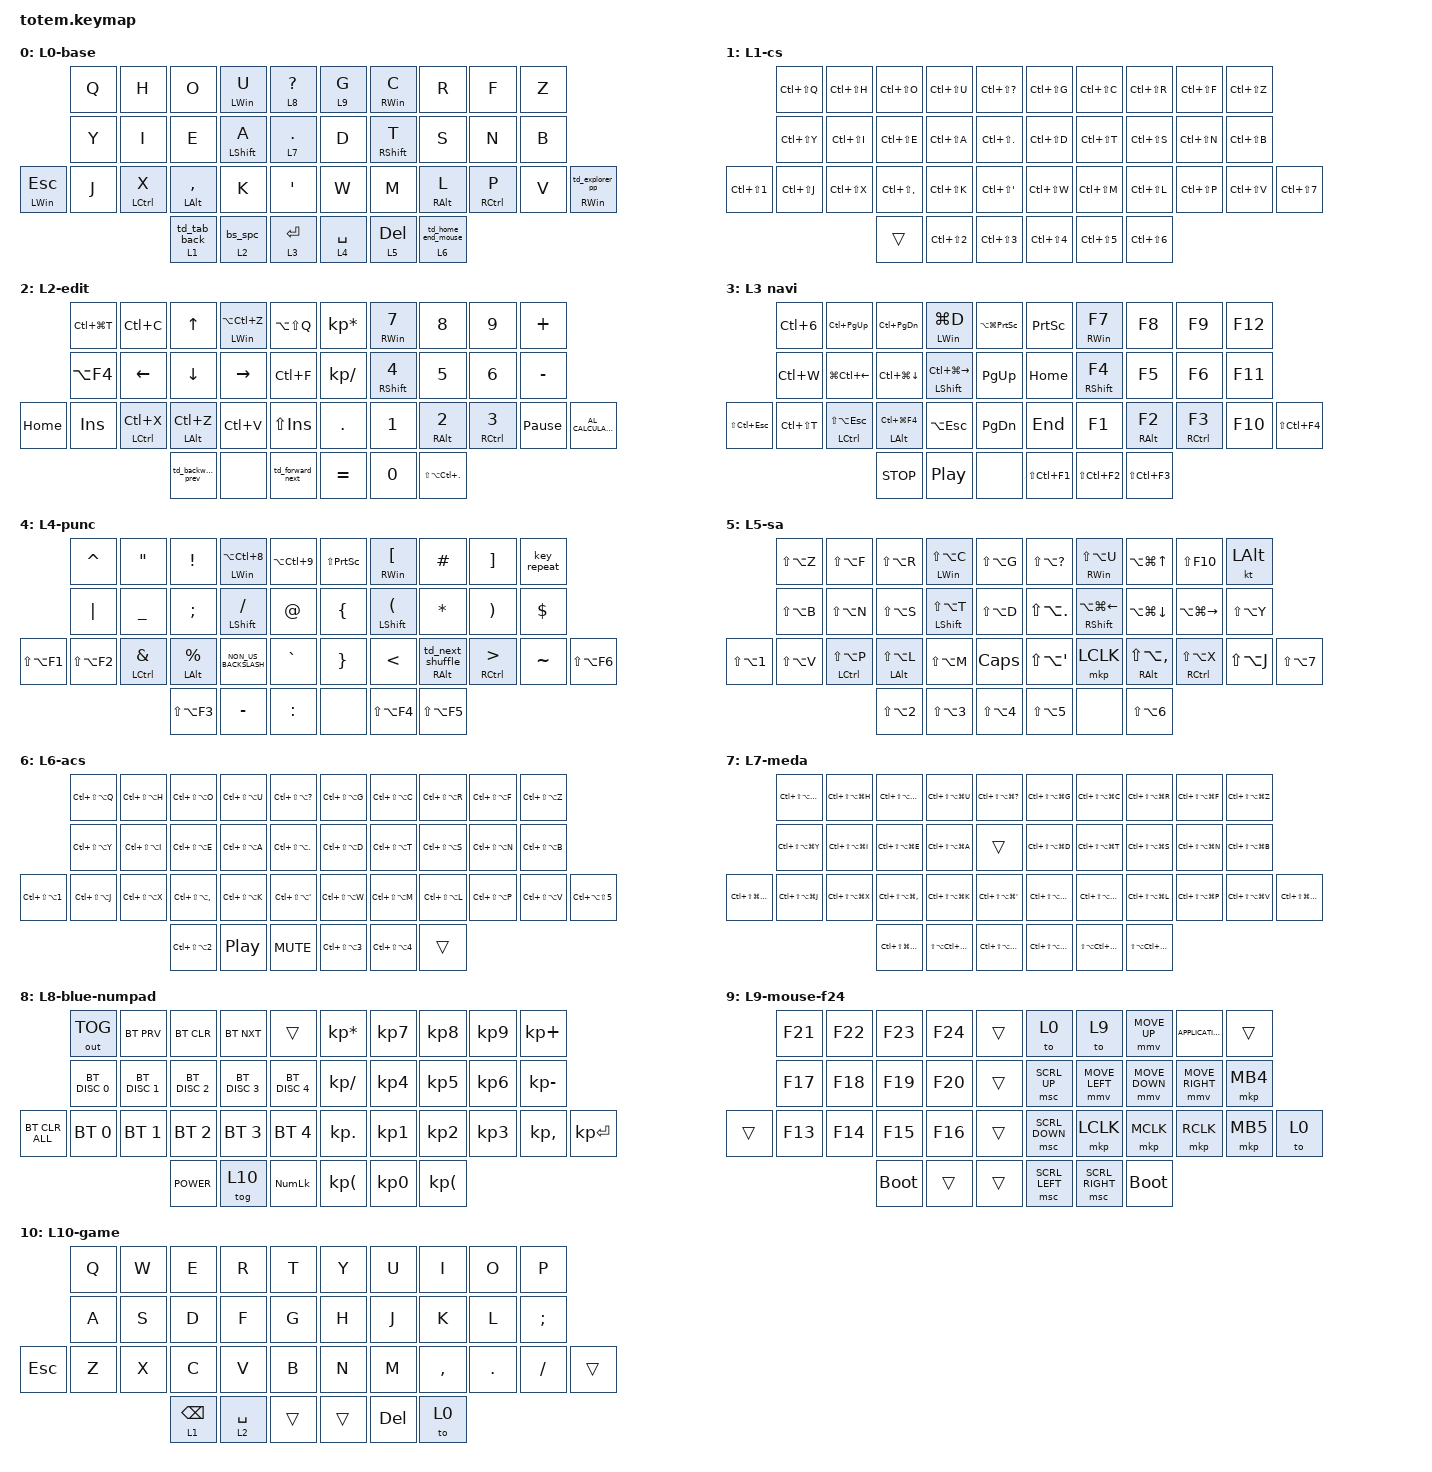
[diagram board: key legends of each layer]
//
//                                                        ▀▀▀▀▀     ▀▀▀▀▀          ▀▀█▀▀
//                                                        ▄▀▀▀▄  ▄  ▄▀▀▀▄  ▄  ▄▀▀▀▄  █  ▄▀▀▀▄
//                                                        █   █  █  █   █  █  █   █  █  █   █
//                                                         ▀▀▀   █   ▀▀▀   █   ▀▀▀   ▀   ▀▀▀
//                                                               █      ▄▄▄█▄▄▄    █   █  
//                                                               ▀      █  █  █     █▄█
//                                                             ▀▀▀▀▀    █  █  █      ▀
//                                                                      ▀  ▀  ▀
//
// ▄▄▄▄▄▄▄▄▄▄▄▄▄▄▄▄▄▄▄▄▄▄▄▄▄▄▄▄▄▄▄▄▄▄▄▄▄▄▄▄▄▄▄▄▄▄▄▄▄▄▄▄▄▄▄▄▄▄▄▄▄▄▄▄▄▄▄▄▄▄▄▄▄▄▄▄▄▄▄▄▄▄▄▄▄▄▄▄▄▄▄▄▄▄▄▄▄▄▄▄▄▄▄▄▄▄▄▄▄▄▄▄▄▄▄▄▄▄▄▄▄▄▄▄▄▄▄▄▄▄▄▄▄▄▄▄▄▄▄▄▄▄▄▄▄▄▄▄▄

#include <behaviors.dtsi>
#include <dt-bindings/zmk/bt.h>
#include <dt-bindings/zmk/keys.h>
#include <dt-bindings/zmk/outputs.h>
#include <dt-bindings/zmk/pointing.h>

&lt {
    flavor = "tap-preferred";
    quick-tap-ms = <200>;
};

&sk { release-after-ms = <600000>; };

&mt {
    tapping-term-ms = <170>;
    quick-tap-ms = <100>;
    flavor = "tap-preferred";
};

/ {
    behaviors {
        hm: homerow_mods {
            compatible = "zmk,behavior-hold-tap";
            #binding-cells = <2>;
            tapping-term-ms = <200>;
            quick-tap-ms = <200>;
            flavor = "tap-preferred";
            bindings = <&kp>, <&kp>;
        };

        /* TAP-DANCE: 1 tap = Tab, 2 taps = Caps Lock */
        /* MOD-MORPH: Backspace that becomes Delete when Shift is held */
        /* This solves your Shift+Tab worry—you can keep Shift+Tab functional! */

        bs_del: backspace_delete {
            compatible = "zmk,behavior-mod-morph";
            #binding-cells = <0>;
            bindings = <&kp BSPC>, <&kp DEL>;

            mods = <(MOD_LSFT|MOD_RSFT)>;
        };

        /* HOLD-TAP (Layer/Repeat): Tap = BSPC, Hold = Layer 2 */
        /* This includes 'quick-tap-ms' to allow the repeat-on-hold you like! */

        lt_repeat: layer_tap_repeat {
            compatible = "zmk,behavior-hold-tap";
            #binding-cells = <2>;
            flavor = "hold-preferred";
            tapping-term-ms = <200>;
            quick-tap-ms = <150>; // This enables the "double-tap-and-hold to repeat"
            bindings = <&mo>, <&kp>;
        };

        /* MOD-MORPH: Dot on tap, Colon on Shift+Dot */

        shift_backspace: shift_backspace-space {
            compatible = "zmk,behavior-mod-morph";
            #binding-cells = <0>;
            bindings = <&kp BACKSPACE>, <&kp SPACE>;

            mods = <(MOD_LSFT|MOD_RSFT)>;
        };

        td_forward_next: td_forward_next {
            compatible = "zmk,behavior-tap-dance";
            #binding-cells = <0>;
            tapping-term-ms = <300>;
            bindings = <&kp LS(LA(LC(F8)))>, <&kp C_NEXT>;

            label = "TD_FORWARD_NEXT";
        };

        td_backward_prev: td_backward_prev {
            compatible = "zmk,behavior-tap-dance";
            #binding-cells = <0>;
            tapping-term-ms = <300>;
            bindings = <&kp LS(LA(LC(F7)))>, <&kp C_PREVIOUS>;

            label = "TD_BACKWARD_PREV";

            /* 1. The Tap-Dance (The Actions) */

            td_explorer_pp: td_explorer_pp {
                compatible = "zmk,behavior-tap-dance";
                #binding-cells = <0>;
                tapping-term-ms = <300>;
                bindings = <&kp LG(E)>, <&kp C_PLAY_PAUSE>;
            };

            /* 2. The Hold-Tap (The Logic) */

            rwin_explorer_pp: rwin_explorer_pp {
                compatible = "zmk,behavior-hold-tap";
                #binding-cells = <2>;
                flavor = "tap-preferred";
                tapping-term-ms = <200>;
                bindings = <&kp>, <&td_explorer_pp>;
            };

            /* 1. The Mod-Morph (Normal = Backspace, Shift = Space) */

            bs_spc: backspace_space {
                compatible = "zmk,behavior-mod-morph";
                #binding-cells = <0>;
                bindings = <&kp BSPC>, <&kp SPACE>;

                mods = <(MOD_LSFT|MOD_RSFT)>;
            };

            /* 2. The Layer-Tap Wrapper (Hold = Layer, Tap = The Mod-Morph) */

            lt_bs_spc: layer_tap_bs_spc {
                compatible = "zmk,behavior-hold-tap";
                #binding-cells = <2>;
                flavor = "tap-preferred";
                tapping-term-ms = <200>;
                bindings = <&mo>, <&bs_spc>;

                /* Hold switches layer, Tap triggers the Morph */

                quick-tap-ms = <200>;
            };

            /* 1. The Tap-Dance (Tuned for fast double-taps) */

            td_tab_back: td_tab_back {
                compatible = "zmk,behavior-tap-dance";
                #binding-cells = <0>;
                tapping-term-ms = <200>; // Fast window for the double-tap
                bindings = <&kp TAB>, <&kp C_AC_BACK>;
            };

            /* 2. The Hold-Tap (Tuned for slow navigation) */

            lalt_tab_back: lalt_tab_back {
                compatible = "zmk,behavior-hold-tap";
                #binding-cells = <2>;
                flavor = "tap-preferred"; // Prioritizes the Tab/Dance over the Layer
                tapping-term-ms = <250>;   // Must hold for 250ms to trigger Layer 1
                quick-tap-ms = <200>;      // Allows slow-but-repeated Tabbing
                bindings = <&mo>, <&td_tab_back>;
            };

            ralt_del_home_forward_mouse: ralt_del_home_forward_mouse {
                compatible = "zmk,behavior-hold-tap";
                #binding-cells = <2>;
                flavor = "tap-preferred";
                tapping-term-ms = <250>;
                quick-tap-ms = <200>;
                bindings = <&mo>, <&td_home_end_mouse>;

                label = "RALT_DEL_HOME_FORWARD_MOUSE";
            };

            td_home_end_mouse: td_home_end_mouse {
                compatible = "zmk,behavior-tap-dance";
                #binding-cells = <0>;
                tapping-term-ms = <200>;
                bindings = <&kp HOME>, <&kp C_AC_FORWARD>;

                label = "TD_HOME_END_MOUSE";
            };

            td_next_shuffle: td_next_shuffle {
                compatible = "zmk,behavior-tap-dance";
                #binding-cells = <0>;
                tapping-term-ms = <200>;
                bindings = <&kp C_NEXT>, <&kp C_RANDOM_PLAY>;

                label = "TD_NEXT_SHUFFLE";
            };

            holdAlt_tapdanceMediaNextShuffl: holdAlt_tapdanceMediaNextShuffl {
                compatible = "zmk,behavior-hold-tap";
                #binding-cells = <2>;
                flavor = "tap-preferred";
                tapping-term-ms = <250>;
                quick-tap-ms = <200>;
                bindings = <&kp>, <&td_next_shuffle>;

                label = "HOLDALT_TAPDANCEMEDIANEXTSHUFFL";
            };
        };
    };

    macros {
        gif: gif {
            label = "giphy";
            compatible = "zmk,behavior-macro";
            #binding-cells = <0>;
            bindings =
                <&macro_press>,
                <&kp LSHFT>,
                <&macro_tap>,
                <&kp N2>,
                <&macro_release>,
                <&kp LSHFT>,
                <&macro_tap>,
                <&kp G &kp I &kp F>;
        };

        email: my_period_macro {
            compatible = "zmk,behavior-macro";
            label = "MY_PERIOD_MACRO";
            #binding-cells = <0>;
            bindings = <&kp V &kp N &kp Z &kp AT &kp L &kp I &kp V &kp E &kp DOT &kp C &kp O &kp M>;
        };
    };

    combos {
        compatible = "zmk,combos";

        tab {
            timeout-ms = <50>;
            key-positions = <1 2>; // This assumes position 2 and 3 on your keyboard. Adjust as needed.
            bindings = <&kp TAB>;
            layers = <0>; // This combo will only work on layer 0.
        };

        del {
            timeout-ms = <100>;
            key-positions = <23 24>;
            bindings = <&kp DEL>;
        };

        mpc_seek_bk {
            timeout-ms = <40>;
            key-positions = <22 23>;
            bindings = <&kp C_REWIND>;
        };

        mpc_seek_ff {
            timeout-ms = <100>;
            bindings = <&kp C_FAST_FORWARD>;
            key-positions = <7 8>;
        };

        home {
            timeout-ms = <120>;
            bindings = <&kp HOME>;
            key-positions = <21 11>;
        };

        pageup2 {
            timeout-ms = <120>;
            bindings = <&kp PAGE_UP>;
            key-positions = <12 22>;
        };

        end {
            timeout-ms = <120>;
            bindings = <&kp END>;
            key-positions = <18 30>;
        };

        pagedn2 {
            timeout-ms = <120>;
            bindings = <&kp PAGE_DOWN>;
            key-positions = <17 29>;
        };

        vul-up {
            bindings = <&kp C_VOLUME_UP>;
            key-positions = <5 15>;
            timeout-ms = <100>;
        };

        vul-dn {
            bindings = <&kp C_VOLUME_DOWN>;
            key-positions = <26 15>;
            timeout-ms = <100>;
        };

        end2 {
            bindings = <&kp END>;
            key-positions = <14 25>;
            timeout-ms = <100>;
        };

        space3 {
            bindings = <&kp SPACE>;
            key-positions = <13 24>;
            timeout-ms = <100>;
        };

        pageup {
            bindings = <&kp PAGE_UP>;
            key-positions = <8 18>;
            timeout-ms = <100>;
        };

        pagedn {
            bindings = <&kp PAGE_DOWN>;
            key-positions = <18 29>;
            timeout-ms = <100>;
        };

        shift-input {
            bindings = <&kp LEFT_SHIFT>;
            key-positions = <27 28>;
        };

        todo7 {
            bindings = <&email>;
            key-positions = <21 22>;
        };
    };

    keymap {
        compatible = "zmk,keymap";

        // ▄▄▄▄▄▄▄▄▄▄▄▄▄▄▄▄▄▄▄▄▄▄▄▄▄▄▄▄▄▄▄▄▄▄▄▄▄▄▄▄▄▄▄▄▄▄▄▄▄▄▄▄▄▄▄▄▄▄▄▄▄▄▄▄▄▄▄▄▄▄▄▄▄▄▄▄▄▄▄▄▄▄▄▄▄▄▄▄▄▄▄▄▄▄▄▄▄▄▄▄▄▄▄▄▄▄▄▄▄▄▄▄▄▄▄▄▄▄▄▄▄▄▄▄▄▄▄▄▄▄▄▄▄▄▄▄▄▄▄▄▄▄▄▄▄▄▄▄▄

        L0-base {
            // ┏━━━━━━━━━━━━━━━━━━━━━━━━━━━━━━━━━━━━━━━┓

            label = "L0-base";

            // ┗━━━━━━━━━━━━━━━━━━━━━━━━━━━━━━━━━━━━━━━┛
            //             ┏━━━━━━━━━━━┳━━━━━━━━━━━┳━━━━━━━━━━━┳━━━━━━━━━━━┳━━━━━━━━━━━┓   ┏━━━━━━━━━━━┳━━━━━━━━━━━┳━━━━━━━━━━━┳━━━━━━━━━━━┳━━━━━━━━━━━┓
            //             ┃     Q     ┃     H     ┃     O     ┃     U     ┃     ?     ┃   ┃     J     ┃     L     ┃     U     ┃     Y     ┃     ;     ┃
            //             ┣━━━━━━━━━━━╋━━━━━━━━━━━╋━━━━━━━━━━━╋━━━━━━━━━━━╋━━━━━━━━━━━┫   ┣━━━━━━━━━━━╋━━━━━━━━━━━╋━━━━━━━━━━━╋━━━━━━━━━━━╋━━━━━━━━━━━┫
            //             ┃     Y     ┃     I     ┃     E     ┃     A     ┃     .     ┃   ┃     H     ┃     N     ┃     E     ┃     I     ┃     O     ┃
            // ┏━━━━━━━━━━━╋━━━━━━━━━━━╋━━━━━━━━━━━╋━━━━━━━━━━━╋━━━━━━━━━━━╋━━━━━━━━━━━┫   ┣━━━━━━━━━━━╋━━━━━━━━━━━╋━━━━━━━━━━━╋━━━━━━━━━━━╋━━━━━━━━━━━╋━━━━━━━━━━━┓
            // ┃     WIN   ┃     J     ┃     X     ┃     ,     ┃     K     ┃     '     ┃   ┃     K     ┃     M     ┃     ,     ┃     .     ┃     /     ┃     \     ┃
            // ┗━━━━━━━━━━━┻━━━━━━━━━━━┻━━━━━━━━━━━╋━━━━━━━━━━━╋━━━━━━━━━━━╋━━━━━━━━━━━┫   ┣━━━━━━━━━━━╋━━━━━━━━━━━╋━━━━━━━━━━━╋━━━━━━━━━━━┻━━━━━━━━━━━┻━━━━━━━━━━━┛
            //                                     ┃    ALT    ┃    BKSP   ┃   ENTER   ┃   ┃   SPACE   ┃    DEL    ┃    ALT    ┃
            //                                     ┗━━━━━━━━━━━┻━━━━━━━━━━━┻━━━━━━━━━━━┛   ┗━━━━━━━━━━━┻━━━━━━━━━━━┻━━━━━━━━━━━┛

            bindings = <
                     &kp Q  &kp H        &kp O               &hm LEFT_WIN U  &lt 8 QUESTION    &lt 9 G      &hm RIGHT_WIN C  &kp R                             &kp F        &kp Z
                     &kp Y  &kp I        &kp E               &hm LSHFT A     &lt 7 PERIOD      &kp D        &hm RSHFT T      &kp S                             &kp N        &kp B
&mt LEFT_WIN ESCAPE  &kp J  &hm LCTRL X  &hm LEFT_ALT COMMA  &kp K           &kp SQT           &kp W        &kp M            &hm RIGHT_ALT L                   &hm RCTRL P  &kp V  &rwin_explorer_pp RIGHT_WIN 0
                                         &lalt_tab_back 1 0  &lt_bs_spc 2 0  &lt 3 ENTER       &lt 4 SPACE  &lt 5 DELETE     &ralt_del_home_forward_mouse 6 0
            >;
        };

        L1-cs {
            label = "L1-cs";
            bindings = <
                      &kp LC(LS(Q))  &kp LC(LS(H))  &kp LC(LS(O))      &kp LC(LS(U))         &kp LC(LS(QUESTION))    &kp LC(LS(G))         &kp LC(LS(C))         &kp LC(LS(R))         &kp LC(LS(F))  &kp LC(LS(Z))
                      &kp LC(LS(Y))  &kp LC(LS(I))  &kp LC(LS(E))      &kp LC(LS(A))         &kp LC(LS(DOT))         &kp LC(LS(D))         &kp LC(LS(T))         &kp LC(LS(S))         &kp LC(LS(N))  &kp LC(LS(B))
&kp LC(LS(NUMBER_1))  &kp LC(LS(J))  &kp LC(LS(X))  &kp LC(LS(COMMA))  &kp LC(LS(K))         &kp LC(LS(SQT))         &kp LC(LS(W))         &kp LC(LS(M))         &kp LC(LS(L))         &kp LC(LS(P))  &kp LC(LS(V))  &kp LC(LS(NUMBER_7))
                                                    &trans             &kp LC(LS(NUMBER_2))  &kp LC(LS(NUMBER_3))    &kp LC(LS(NUMBER_4))  &kp LC(LS(NUMBER_5))  &kp LC(LS(NUMBER_6))
            >;
        };

        L2-edit {
            // ┏━━━━━━━━━━━━━━━━━━━━━━━━━━━━━━━━━━━━━━━┓

            label = "L2-edit";

            // ┗━━━━━━━━━━━━━━━━━━━━━━━━━━━━━━━━━━━━━━━┛
            //             ┏━━━━━━━━━━━┳━━━━━━━━━━━┳━━━━━━━━━━━┳━━━━━━━━━━━┳━━━━━━━━━━━┓   ┏━━━━━━━━━━━┳━━━━━━━━━━━┳━━━━━━━━━━━┳━━━━━━━━━━━┳━━━━━━━━━━━┓
            //             ┃           ┃           ┃     UP    ┃           ┃     {     ┃   ┃     }     ┃     7     ┃     8     ┃     9     ┃     +     ┃
            //             ┣━━━━━━━━━━━╋━━━━━━━━━━━╋━━━━━━━━━━━╋━━━━━━━━━━━╋━━━━━━━━━━━┫   ┣━━━━━━━━━━━╋━━━━━━━━━━━╋━━━━━━━━━━━╋━━━━━━━━━━━╋━━━━━━━━━━━┫
            //             ┃   SHIFT   ┃   LEFT    ┃    DOWN   ┃   RIGHT   ┃     [     ┃   ┃     ]     ┃     4     ┃     5     ┃     6     ┃     -     ┃
            // ┏━━━━━━━━━━━╋━━━━━━━━━━━╋━━━━━━━━━━━╋━━━━━━━━━━━╋━━━━━━━━━━━╋━━━━━━━━━━━┫   ┣━━━━━━━━━━━╋━━━━━━━━━━━╋━━━━━━━━━━━╋━━━━━━━━━━━╋━━━━━━━━━━━╋━━━━━━━━━━━┓
            // ┃           ┃           ┃   P UP    ┃  C LOCK   ┃  P DOWN   ┃     (     ┃   ┃     )     ┃     1     ┃     2     ┃     3     ┃     *     ┃           ┃
            // ┗━━━━━━━━━━━┻━━━━━━━━━━━┻━━━━━━━━━━━╋━━━━━━━━━━━╋━━━━━━━━━━━╋━━━━━━━━━━━┫   ┣━━━━━━━━━━━╋━━━━━━━━━━━╋━━━━━━━━━━━╋━━━━━━━━━━━┻━━━━━━━━━━━┻━━━━━━━━━━━┛
            //                                     ┃           ┃    TAB    ┃    SPC    ┃   ┃    DEL    ┃     0     ┃           ┃
            //                                     ┗━━━━━━━━━━━┻━━━━━━━━━━━┻━━━━━━━━━━━┛   ┗━━━━━━━━━━━┻━━━━━━━━━━━┻━━━━━━━━━━━┛

            bindings = <
          &kp LC(LG(T))  &kp LC(C)        &kp UP_ARROW        &hm LEFT_WIN LA(LC(Z))  &kp LA(LS(Q))       &kp KP_MULTIPLY  &hm RIGHT_WIN NUMBER_7    &kp NUMBER_8            &kp NUMBER_9        &kp PLUS
          &kp LA(F4)     &kp LEFT         &kp DOWN            &kp RIGHT               &kp LC(F)           &kp KP_DIVIDE    &hm RIGHT_SHIFT NUMBER_4  &kp NUMBER_5            &kp NUMBER_6        &kp MINUS
&kp HOME  &kp INS        &hm LCTRL LC(X)  &hm LEFT_ALT LC(Z)  &kp LC(V)               &kp LS(INS)         &kp PERIOD       &kp NUMBER_1              &hm RIGHT_ALT NUMBER_2  &hm RCTRL NUMBER_3  &kp PAUSE_BREAK  &kp C_AL_CALCULATOR
                                          &td_backward_prev   &none                   &td_forward_next    &kp EQUAL        &kp NUMBER_0              &kp LS(LA(LC(PERIOD)))
            >;
        };

        L3-navi {
            // ┏━━━━━━━━━━━━━━━━━━━━━━━━━━━━━━━━━━━━━━━┓

            label = "L3 navi";

            // ┗━━━━━━━━━━━━━━━━━━━━━━━━━━━━━━━━━━━━━━━┛
            //             ┏━━━━━━━━━━━┳━━━━━━━━━━━┳━━━━━━━━━━━┳━━━━━━━━━━━┳━━━━━━━━━━━┓   ┏━━━━━━━━━━━┳━━━━━━━━━━━┳━━━━━━━━━━━┳━━━━━━━━━━━┳━━━━━━━━━━━┓
            //             ┃     !     ┃     @     ┃     #     ┃     $     ┃     %     ┃   ┃     ˆ     ┃     &     ┃     Ü     ┃     '     ┃     "     ┃
            //             ┣━━━━━━━━━━━╋━━━━━━━━━━━╋━━━━━━━━━━━╋━━━━━━━━━━━╋━━━━━━━━━━━┫   ┣━━━━━━━━━━━╋━━━━━━━━━━━╋━━━━━━━━━━━╋━━━━━━━━━━━╋━━━━━━━━━━━┫
            //             ┃     Ä     ┃           ┃    SZ     ┃           ┃           ┃   ┃   MUTE    ┃   YEN     ┃   EURO    ┃  POUND    ┃     Ö     ┃
            // ┏━━━━━━━━━━━╋━━━━━━━━━━━╋━━━━━━━━━━━╋━━━━━━━━━━━╋━━━━━━━━━━━╋━━━━━━━━━━━┫   ┣━━━━━━━━━━━╋━━━━━━━━━━━╋━━━━━━━━━━━╋━━━━━━━━━━━╋━━━━━━━━━━━╋━━━━━━━━━━━┓
            // ┃           ┃  EMAIL1   ┃  EMAIL2   ┃           ┃           ┃           ┃   ┃   VOL-    ┃   VOL+    ┃   LAST    ┃   NEXT    ┃     \     ┃           ┃
            // ┗━━━━━━━━━━━┻━━━━━━━━━━━┻━━━━━━━━━━━╋━━━━━━━━━━━╋━━━━━━━━━━━╋━━━━━━━━━━━┫   ┣━━━━━━━━━━━╋━━━━━━━━━━━╋━━━━━━━━━━━╋━━━━━━━━━━━┻━━━━━━━━━━━┻━━━━━━━━━━━┛
            //                                     ┃           ┃    GIF    ┃    ADJ    ┃   ┃           ┃           ┃           ┃
            //                                     ┗━━━━━━━━━━━┻━━━━━━━━━━━┻━━━━━━━━━━━┛   ┗━━━━━━━━━━━┻━━━━━━━━━━━┻━━━━━━━━━━━┛

            bindings = <
                    &kp LC(NUMBER_6)  &kp LC(PAGE_UP)           &kp LC(PAGE_DOWN)        &hm LEFT_WIN LG(D)            &kp LA(LG(PRINTSCREEN))    &kp PRINTSCREEN  &hm RIGHT_WIN F7  &kp F8            &kp F9        &kp F12
                    &kp LC(W)         &kp LG(LC(LEFT_ARROW))    &kp LC(LG(DOWN))         &hm LEFT_SHIFT LC(LG(RIGHT))  &kp PG_UP                  &kp HOME         &hm RSHIFT F4     &kp F5            &kp F6        &kp F11
&kp LS(LC(ESCAPE))  &kp LC(LS(T))     &hm LCTRL LS(LA(ESCAPE))  &hm LEFT_ALT LC(LG(F4))  &kp LA(ESCAPE)                &kp PAGE_DOWN              &kp END          &kp F1            &hm RIGHT_ALT F2  &hm RCTRL F3  &kp F10  &kp LS(LC(F4))
                                                                &kp C_STOP               &kp C_PLAY_PAUSE              &none                      &kp LS(LC(F1))   &kp LS(LC(F2))    &kp LS(LC(F3))
            >;
        };

        L4-punc {
            // ┏━━━━━━━━━━━━━━━━━━━━━━━━━━━━━━━━━━━━━━━┓

            label = "L4-punc";

            // ┗━━━━━━━━━━━━━━━━━━━━━━━━━━━━━━━━━━━━━━━┛
            //             ┏━━━━━━━━━━━┳━━━━━━━━━━━┳━━━━━━━━━━━┳━━━━━━━━━━━┳━━━━━━━━━━━┓   ┏━━━━━━━━━━━┳━━━━━━━━━━━┳━━━━━━━━━━━┳━━━━━━━━━━━┳━━━━━━━━━━━┓
            //             ┃   RESET   ┃ BT CLEAR  ┃  OUT TOG  ┃           ┃           ┃   ┃           ┃    F7     ┃    F8     ┃    F9     ┃    F12    ┃
            //             ┣━━━━━━━━━━━╋━━━━━━━━━━━╋━━━━━━━━━━━╋━━━━━━━━━━━╋━━━━━━━━━━━┫   ┣━━━━━━━━━━━╋━━━━━━━━━━━╋━━━━━━━━━━━╋━━━━━━━━━━━╋━━━━━━━━━━━┫
            //             ┃ BOOTLOAD  ┃ BT NEXT   ┃           ┃           ┃           ┃   ┃           ┃    F4     ┃    F5     ┃    F6     ┃    F11    ┃
            // ┏━━━━━━━━━━━╋━━━━━━━━━━━╋━━━━━━━━━━━╋━━━━━━━━━━━╋━━━━━━━━━━━╋━━━━━━━━━━━┫   ┣━━━━━━━━━━━╋━━━━━━━━━━━╋━━━━━━━━━━━╋━━━━━━━━━━━╋━━━━━━━━━━━╋━━━━━━━━━━━┓
            // ┃           ┃           ┃ BT PREV   ┃           ┃           ┃           ┃   ┃           ┃    F1     ┃    F2     ┃    F3     ┃    F10    ┃           ┃
            // ┗━━━━━━━━━━━┻━━━━━━━━━━━┻━━━━━━━━━━━╋━━━━━━━━━━━╋━━━━━━━━━━━╋━━━━━━━━━━━┫   ┣━━━━━━━━━━━╋━━━━━━━━━━━╋━━━━━━━━━━━╋━━━━━━━━━━━┻━━━━━━━━━━━┻━━━━━━━━━━━┛
            //                                     ┃           ┃           ┃           ┃   ┃           ┃           ┃           ┃
            //                                     ┗━━━━━━━━━━━┻━━━━━━━━━━━┻━━━━━━━━━━━┛   ┗━━━━━━━━━━━┻━━━━━━━━━━━┻━━━━━━━━━━━┛

            bindings = <
                &kp CARET       &kp DOUBLE_QUOTES    &kp EXCLAMATION       &hm LEFT_WIN LA(LC(NUMBER_8))  &kp LA(LC(NUMBER_9))    &kp LS(PRINTSCREEN)  &hm RIGHT_WIN LEFT_BRACKET       &kp HASH                                      &kp RIGHT_BRACKET       &key_repeat
                &kp PIPE        &kp UNDERSCORE       &kp SEMICOLON         &hm LEFT_SHIFT SLASH           &kp AT_SIGN             &kp LEFT_BRACE       &hm LEFT_SHIFT LEFT_PARENTHESIS  &kp ASTERISK                                  &kp RIGHT_PARENTHESIS   &kp DOLLAR
&kp LS(LA(F1))  &kp LS(LA(F2))  &hm LCTRL AMPERSAND  &hm LEFT_ALT PERCENT  &kp NON_US_BACKSLASH           &kp GRAVE               &kp RIGHT_BRACE      &kp LESS_THAN                    &holdAlt_tapdanceMediaNextShuffl RIGHT_ALT 0  &hm RCTRL GREATER_THAN  &kp TILDE    &kp LS(LA(F6))
                                                     &kp LS(LA(F3))        &kp MINUS                      &kp COLON               &none                &kp LS(LA(F4))                   &kp LS(LA(F5))
            >;
        };

        L5-sa-reverse {
            // ┏━━━━━━━━━━━━━━━━━━━━━━━━━━━━━━━━━━━━━━━┓

            label = "L5-sa";

            // ┗━━━━━━━━━━━━━━━━━━━━━━━━━━━━━━━━━━━━━━━┛
            //             ┏━━━━━━━━━━━┳━━━━━━━━━━━┳━━━━━━━━━━━┳━━━━━━━━━━━┳━━━━━━━━━━━┓   ┏━━━━━━━━━━━┳━━━━━━━━━━━┳━━━━━━━━━━━┳━━━━━━━━━━━┳━━━━━━━━━━━┓
            //             ┃ NEXT FILE ┃ MARK IN   ┃ ROTATE    ┃ MARK OUT  ┃ SHOW SNAP ┃   ┃           ┃           ┃           ┃           ┃           ┃
            //             ┣━━━━━━━━━━━╋━━━━━━━━━━━╋━━━━━━━━━━━╋━━━━━━━━━━━╋━━━━━━━━━━━┫   ┣━━━━━━━━━━━╋━━━━━━━━━━━╋━━━━━━━━━━━╋━━━━━━━━━━━╋━━━━━━━━━━━┫
            //             ┃ TVP II    ┃ LEFT      ┃ PAN       ┃ RIGHT     ┃ PLAY/FLIP ┃   ┃           ┃           ┃           ┃           ┃           ┃
            // ┏━━━━━━━━━━━╋━━━━━━━━━━━╋━━━━━━━━━━━╋━━━━━━━━━━━╋━━━━━━━━━━━╋━━━━━━━━━━━┫   ┣━━━━━━━━━━━╋━━━━━━━━━━━╋━━━━━━━━━━━╋━━━━━━━━━━━╋━━━━━━━━━━━╋━━━━━━━━━━━┓
            // ┃ FULLSCR   ┃ SHIFT     ┃ COPY      ┃ DELETE    ┃ PASTE     ┃ IMG MARK  ┃   ┃           ┃           ┃           ┃           ┃           ┃           ┃
            // ┗━━━━━━━━━━━┻━━━━━━━━━━━┻━━━━━━━━━━━╋━━━━━━━━━━━╋━━━━━━━━━━━╋━━━━━━━━━━━┫   ┣━━━━━━━━━━━╋━━━━━━━━━━━╋━━━━━━━━━━━╋━━━━━━━━━━━┻━━━━━━━━━━━┻━━━━━━━━━━━┛
            //                                     ┃           ┃ UNDO/SAVE ┃  SEL/MOV  ┃   ┃           ┃           ┃           ┃
            //                                     ┗━━━━━━━━━━━┻━━━━━━━━━━━┻━━━━━━━━━━━┛   ┗━━━━━━━━━━━┻━━━━━━━━━━━┻━━━━━━━━━━━┛

            bindings = <
                      &kp LS(LA(Z))  &kp LS(LA(F))        &kp LS(LA(R))           &hm LEFT_WIN LS(LA(C))    &kp LS(LA(G))           &kp LS(LA(QUESTION))  &hm RIGHT_WIN LS(LA(U))       &kp LA(LG(UP_ARROW))         &kp LS(F10)          &kt LEFT_ALT
                      &kp LS(LA(B))  &kp LS(LA(N))        &kp LS(LA(S))           &hm LEFT_SHIFT LS(LA(T))  &kp LS(LA(D))           &kp LS(LA(PERIOD))    &hm RIGHT_SHIFT LA(LG(LEFT))  &kp LA(LG(DOWN))             &kp LA(LG(RIGHT))    &kp LS(LA(Y))
&kp LS(LA(NUMBER_1))  &kp LS(LA(V))  &hm LCTRL LS(LA(P))  &hm LEFT_ALT LS(LA(L))  &kp LS(LA(M))             &kp CAPS                &kp LS(LA(SQT))       &mkp LCLK                     &hm RIGHT_ALT LS(LA(COMMA))  &hm RCTRL LS(LA(X))  &kp LS(LA(J))  &kp LS(LA(N7))
                                                          &kp LS(LA(NUMBER_2))    &kp LS(LA(NUMBER_3))      &kp LS(LA(NUMBER_4))    &kp LS(LA(N5))        &none                         &kp LS(LA(NUMBER_6))
            >;
        };

        L6-acs {
            label = "L6-acs";
            bindings = <
                          &kp LC(LS(LA(Q)))  &kp LC(LS(LA(H)))  &kp LC(LS(LA(O)))         &kp LC(LS(LA(U)))  &kp LC(LS(LA(QUESTION)))    &kp LC(LS(LA(G)))         &kp LC(LS(LA(C)))         &kp LC(LS(LA(R)))  &kp LC(LS(LA(F)))  &kp LC(LS(LA(Z)))
                          &kp LC(LS(LA(Y)))  &kp LC(LS(LA(I)))  &kp LC(LS(LA(E)))         &kp LC(LS(LA(A)))  &kp LC(LS(LA(DOT)))         &kp LC(LS(LA(D)))         &kp LC(LS(LA(T)))         &kp LC(LS(LA(S)))  &kp LC(LS(LA(N)))  &kp LC(LS(LA(B)))
&kp LC(LS(LA(NUMBER_1)))  &kp LC(LS(LA(J)))  &kp LC(LS(LA(X)))  &kp LC(LS(LA(COMMA)))     &kp LC(LS(LA(K)))  &kp LC(LS(LA(SQT)))         &kp LC(LS(LA(W)))         &kp LC(LS(LA(M)))         &kp LC(LS(LA(L)))  &kp LC(LS(LA(P)))  &kp LC(LS(LA(V)))  &kp LC(LA(LS(NUMBER_5)))
                                                                &kp LC(LS(LA(NUMBER_2)))  &kp C_PLAY_PAUSE   &kp C_MUTE                  &kp LC(LS(LA(NUMBER_3)))  &kp LC(LS(LA(NUMBER_4)))  &trans
            >;
        };

        L7-meta {
            label = "L7-meda";
            bindings = <
                        &kp LC(LS(LA(LG(Q))))  &kp LC(LS(LA(LG(H))))  &kp LC(LS(LA(LG(O))))      &kp LC(LS(LA(LG(U))))   &kp LC(LS(LA(LG(QUESTION))))    &kp LC(LS(LA(LG(G))))   &kp LC(LS(LA(LG(C))))    &kp LC(LS(LA(LG(R))))    &kp LC(LS(LA(LG(F))))  &kp LC(LS(LA(LG(Z))))
                        &kp LC(LS(LA(LG(Y))))  &kp LC(LS(LA(LG(I))))  &kp LC(LS(LA(LG(E))))      &kp LC(LS(LA(LG(A))))   &trans                          &kp LC(LS(LA(LG(D))))   &kp LC(LS(LA(LG(T))))    &kp LC(LS(LA(LG(S))))    &kp LC(LS(LA(LG(N))))  &kp LC(LS(LA(LG(B))))
&kp LC(LS(LG(LA(F5))))  &kp LC(LS(LA(LG(J))))  &kp LC(LS(LA(LG(X))))  &kp LC(LS(LA(LG(COMMA))))  &kp LC(LS(LA(LG(K))))   &kp LC(LS(LA(LG(SQT))))         &kp LC(LS(LA(LG(W))))   &kp LC(LS(LA(LG(M))))    &kp LC(LS(LA(LG(L))))    &kp LC(LS(LA(LG(P))))  &kp LC(LS(LA(LG(V))))  &kp LC(LS(LG(LA(F12))))
                                                                      &kp LC(LS(LG(LA(F6))))     &kp LS(LA(LC(LG(F7))))  &kp LC(LS(LA(LG(F8))))          &kp LC(LS(LA(LG(F9))))  &kp LS(LA(LC(LG(F10))))  &kp LS(LA(LC(LG(F11))))
            >;
        };

        L8-blue-numpad {
            // ┏━━━━━━━━━━━━━━━━━━━━━━━━━━━━━━━━━━━━━━━┓

            label = "L8-blue-numpad";

            // ┗━━━━━━━━━━━━━━━━━━━━━━━━━━━━━━━━━━━━━━━┛
            //             ┏━━━━━━━━━━━┳━━━━━━━━━━━┳━━━━━━━━━━━┳━━━━━━━━━━━┳━━━━━━━━━━━┓   ┏━━━━━━━━━━━┳━━━━━━━━━━━┳━━━━━━━━━━━┳━━━━━━━━━━━┳━━━━━━━━━━━┓
            //             ┃ SOLO      ┃ TOGGLE IN ┃ RESET ROT ┃ TOGGLE OUT┃ TAKE SNAP ┃   ┃           ┃           ┃           ┃           ┃           ┃
            //             ┣━━━━━━━━━━━╋━━━━━━━━━━━╋━━━━━━━━━━━╋━━━━━━━━━━━╋━━━━━━━━━━━┫   ┣━━━━━━━━━━━╋━━━━━━━━━━━╋━━━━━━━━━━━╋━━━━━━━━━━━╋━━━━━━━━━━━┫
            //             ┃ ---       ┃ LAST KEY  ┃ NEW KEY   ┃ NEXT KEY  ┃ ENTER     ┃   ┃           ┃           ┃           ┃           ┃           ┃
            // ┏━━━━━━━━━━━╋━━━━━━━━━━━╋━━━━━━━━━━━╋━━━━━━━━━━━╋━━━━━━━━━━━╋━━━━━━━━━━━┫   ┣━━━━━━━━━━━╋━━━━━━━━━━━╋━━━━━━━━━━━╋━━━━━━━━━━━╋━━━━━━━━━━━╋━━━━━━━━━━━┓
            // ┃           ┃ FULLSCR   ┃ CPY2BRUSH ┃ DEL HEAD  ┃ PSTinPLACE┃ BOOK MARK ┃   ┃           ┃           ┃           ┃           ┃           ┃           ┃
            // ┗━━━━━━━━━━━┻━━━━━━━━━━━┻━━━━━━━━━━━╋━━━━━━━━━━━╋━━━━━━━━━━━╋━━━━━━━━━━━┫   ┣━━━━━━━━━━━╋━━━━━━━━━━━╋━━━━━━━━━━━╋━━━━━━━━━━━┻━━━━━━━━━━━┻━━━━━━━━━━━┛
            //                                     ┃           ┃ REDO/SAV1 ┃TRANS/WARP ┃   ┃           ┃           ┃           ┃
            //                                     ┗━━━━━━━━━━━┻━━━━━━━━━━━┻━━━━━━━━━━━┛   ┗━━━━━━━━━━━┻━━━━━━━━━━━┻━━━━━━━━━━━┛

            bindings = <
                &out OUT_TOG   &bt BT_PRV     &bt BT_CLR     &bt BT_NXT     &trans           &kp KP_MULTIPLY          &kp KP_NUMBER_7  &kp KP_NUMBER_8          &kp KP_NUMBER_9  &kp KP_PLUS
                &bt BT_DISC 0  &bt BT_DISC 1  &bt BT_DISC 2  &bt BT_DISC 3  &bt BT_DISC 4    &kp KP_DIVIDE            &kp KP_NUMBER_4  &kp KP_NUMBER_5          &kp KP_NUMBER_6  &kp KP_MINUS
&bt BT_CLR_ALL  &bt BT_SEL 0   &bt BT_SEL 1   &bt BT_SEL 2   &bt BT_SEL 3   &bt BT_SEL 4     &kp KP_DOT               &kp KP_NUMBER_1  &kp KP_NUMBER_2          &kp KP_NUMBER_3  &kp KP_COMMA  &kp KP_ENTER
                                              &kp C_POWER    &tog 10        &kp KP_NUM       &kp KP_LEFT_PARENTHESIS  &kp KP_NUMBER_0  &kp KP_LEFT_PARENTHESIS
            >;
        };

        L9-mouse-f24 {
            bindings = <
        &kp F21  &kp F22  &kp F23      &kp F24  &trans    &to 0           &to 9            &mmv MOVE_UP    &kp K_APPLICATION  &trans
        &kp F17  &kp F18  &kp F19      &kp F20  &trans    &msc SCRL_UP    &mmv MOVE_LEFT   &mmv MOVE_DOWN  &mmv MOVE_RIGHT    &mkp MB4
&trans  &kp F13  &kp F14  &kp F15      &kp F16  &trans    &msc SCRL_DOWN  &mkp LCLK        &mkp MCLK       &mkp RCLK          &mkp MB5  &to 0
                          &bootloader  &trans   &trans    &msc SCRL_LEFT  &msc SCRL_RIGHT  &bootloader
            >;
        };

        L10-game {
            bindings = <
            &kp Q  &kp W  &kp E            &kp R        &kp T     &kp Y   &kp U       &kp I      &kp O       &kp P
            &kp A  &kp S  &kp D            &kp F        &kp G     &kp H   &kp J       &kp K      &kp L       &kp SEMICOLON
&kp ESCAPE  &kp Z  &kp X  &kp C            &kp V        &kp B     &kp N   &kp M       &kp COMMA  &kp PERIOD  &kp SLASH      &trans
                          &lt 1 BACKSPACE  &lt 2 SPACE  &trans    &trans  &kp DELETE  &to 0
            >;
        };
    };

    conditional_layers { compatible = "zmk,conditional-layers"; };
};
